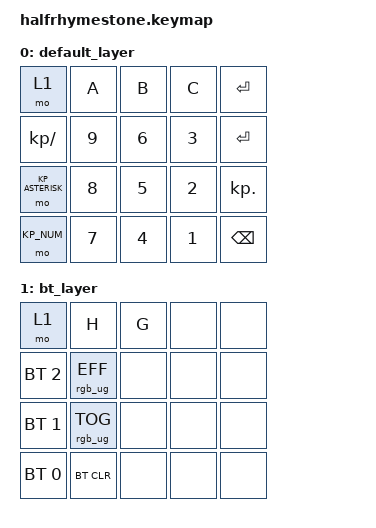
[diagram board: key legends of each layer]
#include <dt-bindings/zmk/bt.h>
#include <behaviors.dtsi>
#include <dt-bindings/zmk/keys.h>
#include <dt-bindings/led/led.h> /* bodo you need this to turn on ARGEEBEEH nowadays weh */
#include <dt-bindings/zmk/rgb.h>

&spi1 {
  compatible = "nordic,nrf-spim";
  status = "okay";
  mosi-pin = <6>; /* 6 = D1 or P0.06. 20 = D3 or P0.20 . in case it doesnt work*/
  // Unused pins, needed for SPI definition, but not used by the ws2812 driver itself.
  sck-pin = <5>;
  miso-pin = <7>;

  led_strip: ws2812@0 {
    compatible = "worldsemi,ws2812-spi";
    label = "WS2812";

    /* SPI */
    reg = <0>; /* ignored, but necessary for SPI bindings */
    spi-max-frequency = <4000000>;

    /* WS2812 */
    chain-length = <12>; /* number of LEDs */
    spi-one-frame = <0x70>;
    spi-zero-frame = <0x40>;
    color-mapping = <LED_COLOR_ID_GREEN
                          LED_COLOR_ID_RED
                          LED_COLOR_ID_BLUE>;
  };
};


/ {
   chosen {
      zmk,underglow = &led_strip;
   };
};

/ {
    keymap {
        compatible = "zmk,keymap";

        default_layer  {
            bindings = <
                &mo 1    &kp A    &kp B     &kp C    &kp ENTER
                &kp KP_SLASH    &kp N9    &kp N6     &kp N3    &kp ENTER
                &mo KP_ASTERISK    &kp N8    &kp N5     &kp N2    &kp KP_DOT
                &mo KP_NUM    &kp N7    &kp N4     &kp N1    &kp BSPC
            >;
        };

        bt_layer  {
            bindings = <
                &mo 1    &kp H        &kp G  &none  &none
                &bt BT_SEL 2  &rgb_ug RGB_EFF         &none  &none  &none
                &bt BT_SEL 1  &rgb_ug RGB_TOG          &none  &none  &none
                &bt BT_SEL 0  &bt BT_CLR    &none  &none  &none     
            >;
        };
    };
};
          
                
